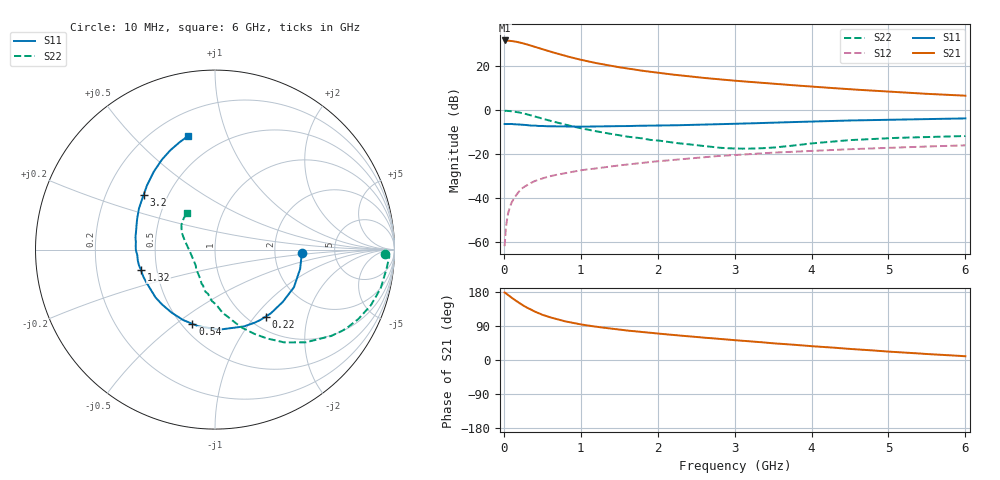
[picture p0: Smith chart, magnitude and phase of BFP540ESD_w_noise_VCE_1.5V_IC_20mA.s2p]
! Infineon Technologies  Discrete & RF Semiconductors
! BFP540ESD
! VCE =  1.5 V,  IC =  20 mA
! Common Emitter S-Parameters:  Nov 2015
# GHz  S  MA  R  50
!  f  S11  S21  S12  S22
! GHz  MAG  ANG  MAG  ANG  MAG  ANG  MAG  ANG
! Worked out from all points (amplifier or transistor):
!   210 points, 10 MHz to 6 GHz, reference 50 ohm
!   highest |S21| = 31.8 dB at 10 MHz (marker M1)
!   |S21| within 3 dB of that: start of sweep to 411.4 MHz
!   unconditionally stable (mu >= 1): start of sweep to 11 MHz; 2.123 GHz to end of sweep
!   at 185 MHz: K = 0.20, MSG = 34.3 dB, |S12| = -37.6 dB
!   at 1.52 GHz: K = 0.90, MSG = 22.3 dB, |S12| = -25.1 dB
!   at 6 GHz: K = 1.12, MAG = 9.2 dB, |S12| = -16.0 dB
!   lowest NFmin = 1.17 dB at 900 MHz
!   S11 on the Smith chart (normalised r, x): 10 MHz: 2.87, -0.15; 220 MHz: 1.19, -1.14; 540 MHz: 0.56, -0.57; 1.32 GHz: 0.41, -0.11; 3.2 GHz: 0.37, +0.30; 6 GHz: 0.34, +0.73
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0.01  0.4844 -2.3  38.73 178.2  0.0008 106.1  0.9473 -1.5
0.02  0.4829 -5.5  38.2 177.1  0.0015 108.0  0.972 -2.3
0.05  0.4864 -12.8  38.39 172.3  0.004 85.2  0.9617 -6.4
0.1  0.4873 -25.5  37.81 164.7  0.0078 81.8  0.9479 -13.2
0.15  0.477 -37.6  36.6 157.4  0.0109 77.9  0.9218 -19.7
0.22  0.468 -53.0  34.29 148.0  0.0154 74.1  0.8713 -28.1
0.3  0.4575 -69.4  31.49 138.2  0.0195 68.8  0.8069 -36.6
0.4  0.4464 -86.8  27.81 128.0  0.0242 63.6  0.7231 -45.6
0.5  0.4372 -102.2  24.59 119.4  0.0279 60.8  0.6437 -53.4
0.54  0.4322 -107.0  23.37 116.9  0.0293 59.8  0.6152 -55.7
0.6  0.4307 -114.4  21.64 112.6  0.0313 58.5  0.5745 -59.6
0.68  0.4261 -122.5  19.76 108.1  0.0336 57.8  0.5286 -63.8
0.8  0.4248 -133.9  17.22 101.9  0.0366 56.4  0.4663 -70.3
1.02  0.4216 -149.3  13.84 93.4  0.0432 55.5  0.3816 -79.1
1.32  0.4279 -164.4  10.81 84.6  0.0506 53.9  0.3028 -89.6
1.6  0.4338 -175.8  8.92 77.8  0.058 52.7  0.2502 -98.8
2.02  0.4484 170.9  7.043 69.3  0.0692 50.8  0.2024 -111.8
3.1  0.495 144.8  4.55 50.9  0.0974 43.1  0.1332 -155.4
3.2  0.5006 142.7  4.406 49.3  0.1 42.1  0.1334 -160.8
4.1  0.5576 126.5  3.351 35.2  0.1202 33.9  0.1811 161.3
5.1  0.6118 112.7  2.591 21.0  0.1407 25.2  0.2339 142.2
6  0.6498 103.4  2.14 9.9  0.1584 18.1  0.2582 127.0
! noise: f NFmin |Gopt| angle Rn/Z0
0.9  1.17  0.28  -137  0.11
1.8  1.32  0.31  -144  0.11
2.4  1.35  0.32  -135  0.12
3  1.45  0.35  -130  0.13
4  1.53  0.47  -104  0.22
5  1.66  0.56  -87  0.31
6  1.97  0.55  -87  0.57
